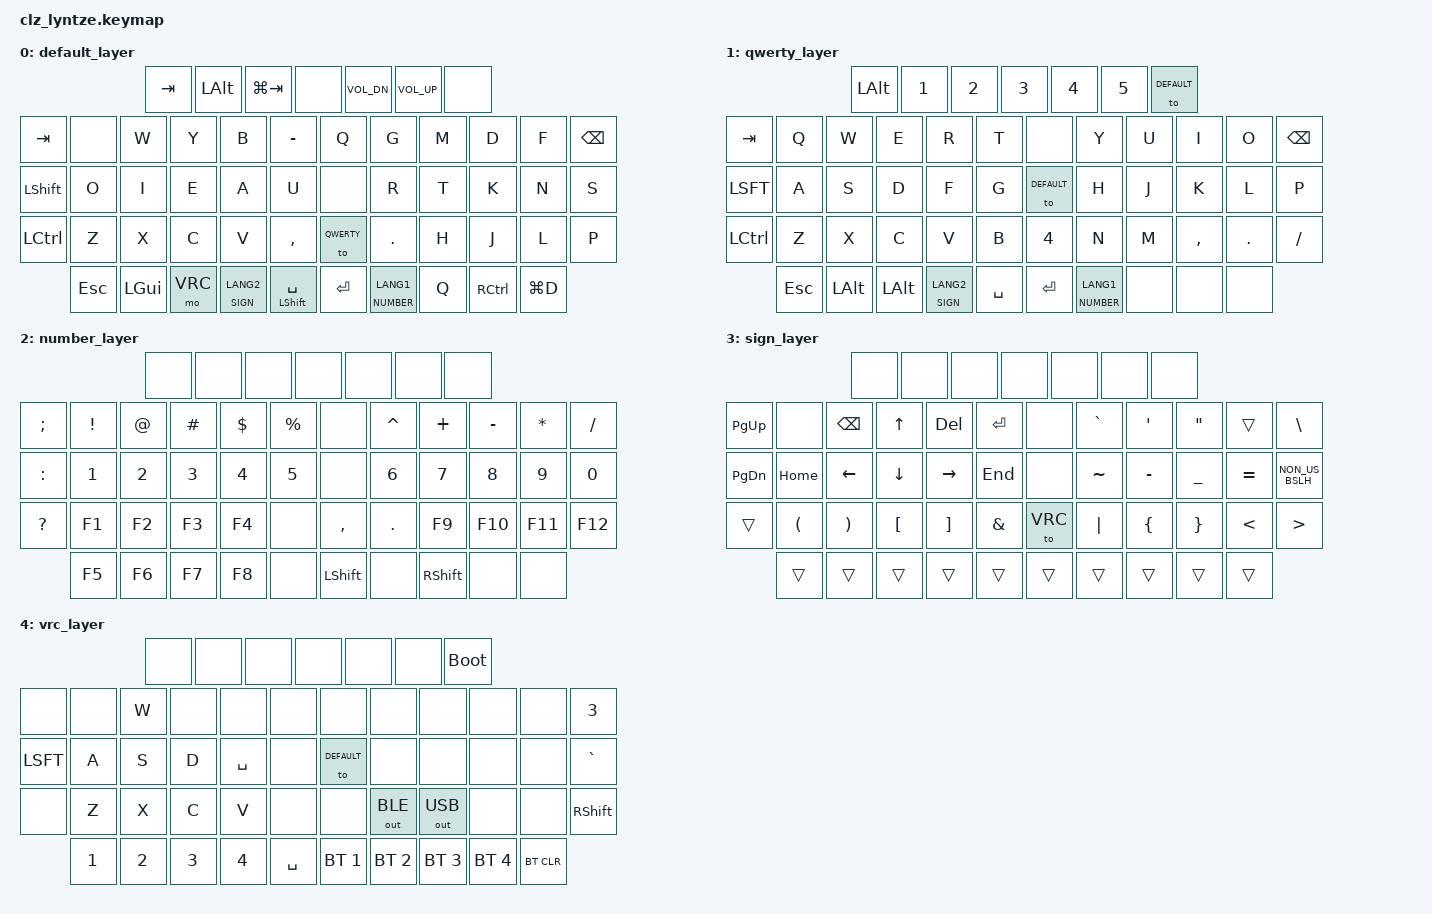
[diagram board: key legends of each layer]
#include <behaviors.dtsi>
#include <dt-bindings/zmk/keys.h>
#include <dt-bindings/zmk/bt.h>
#include <dt-bindings/zmk/outputs.h>

#define DEFAULT 0
#define QWERTY  1
#define NUMBER  2
#define SIGN    3
#define VRC     4

/ {
    keymap {
        compatible = "zmk,keymap";

        default_layer {
            bindings = <
                &kp TAB &kp LALT &kp LG(TAB) &none &kp C_VOL_DN &kp C_VOL_UP &none
                &kp TAB &none &kp W &kp Y &kp B &kp MINUS &kp Q &kp G &kp M &kp D &kp F &kp BSPC
                &kp LSHIFT &kp O &kp I &kp E &kp A &kp U &none &kp R &kp T &kp K &kp N &kp S
                &kp LCTRL &kp Z &kp X &kp C &kp V &kp COMMA &to QWERTY &kp PERIOD &kp H &kp J &kp L &kp P
                &kp ESC &kp LGUI &mo VRC &lt SIGN LANG2 &mt LSHIFT SPC &kp ENTER &lt NUMBER LANG1 &kp Q &kp RCTRL &kp LG(D)>;
                
        };
        qwerty_layer {
            bindings = <
                &kp LALT &kp N1 &kp N2 &kp N3 &kp N4 &kp N5 &to DEFAULT
                &kp TAB &kp Q &kp W &kp E &kp R &kp T &none &kp Y &kp U &kp I &kp O &kp BSPC
                &kp LSFT &kp A &kp S &kp D &kp F &kp G &to DEFAULT &kp H &kp J &kp K &kp L &kp P
                &kp LCTL &kp Z &kp X &kp C &kp V &kp B &kp N4 &kp N &kp M &kp COMMA &kp PERIOD &kp SLASH
                &kp ESC &kp LALT &kp LALT &lt SIGN LANG2 &kp SPC &kp ENTER &lt NUMBER LANG1 &none &none &none>;
        };
        number_layer {
            bindings = <
                &none &none &none &none &none &none &none
                &kp SEMICOLON &kp EXCLAMATION &kp AT_SIGN &kp HASH &kp DOLLAR &kp PERCENT &none &kp CARET &kp PLUS &kp MINUS &kp ASTERISK &kp SLASH
                &kp COLON &kp N1 &kp N2 &kp N3 &kp N4 &kp N5 &none &kp N6 &kp N7 &kp N8 &kp N9 &kp N0
                &kp QUESTION &kp F1 &kp F2 &kp F3 &kp F4 &none &kp COMMA &kp PERIOD &kp F9 &kp F10 &kp F11 &kp F12
                &kp F5 &kp F6 &kp F7 &kp F8 &none &kp LSHIFT &none &kp RSHIFT &none &none>;
        };
        sign_layer {
            bindings = <
                &none &none &none &none &none &none &none
                &kp PAGE_UP &none &kp BSPC &kp UP &kp DEL &kp ENTER &none &kp GRAVE &kp SINGLE_QUOTE &kp DOUBLE_QUOTES &trans &kp BACKSLASH
                &kp PAGE_DOWN &kp HOME &kp LEFT &kp DOWN &kp RIGHT &kp END &none &kp TILDE &kp MINUS &kp UNDERSCORE &kp EQUAL &kp NON_US_BSLH
                &trans &kp LEFT_PARENTHESIS &kp RIGHT_PARENTHESIS &kp LEFT_BRACKET &kp RIGHT_BRACKET &kp AMPS &to VRC &kp PIPE &kp LEFT_BRACE &kp RIGHT_BRACE &kp LESS_THAN &kp GREATER_THAN
                &trans &trans &trans &trans &trans &trans &trans &trans &trans &trans>;
        };
        vrc_layer {
            bindings = <
                &none &none &none &none &none &none &bootloader
                &none &none &kp W &none &none &none &none &none &none &none &none &kp N3
                &kp LSFT &kp A &kp S &kp D &kp SPC &none &to DEFAULT &none &none &none &none &kp GRAVE
                &none &kp Z &kp X &kp C &kp V &none &none &out OUT_BLE &out OUT_USB &none &none &kp RSHIFT
                &kp N1 &kp N2 &kp N3 &kp N4 &kp SPACE &bt BT_SEL 1 &bt BT_SEL 2 &bt BT_SEL 3 &bt BT_SEL 4 &bt BT_CLR>;
        };
    };
};
